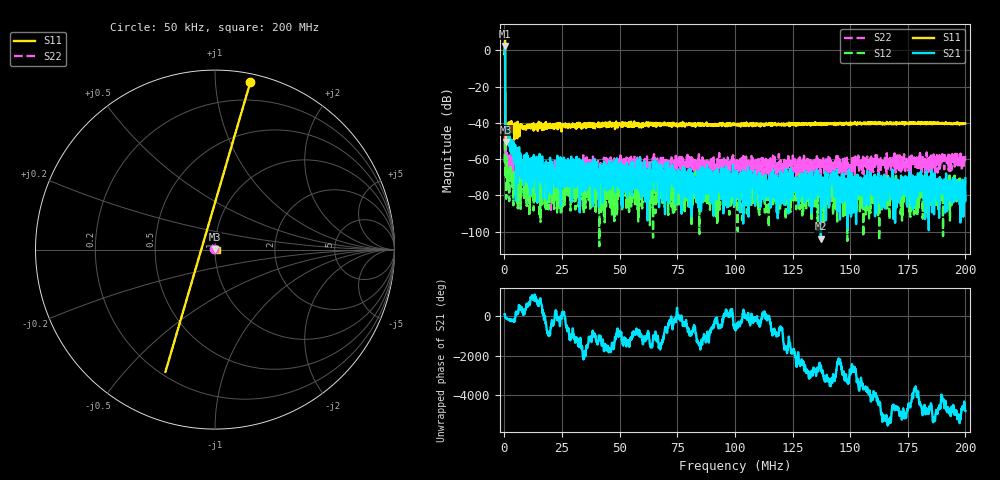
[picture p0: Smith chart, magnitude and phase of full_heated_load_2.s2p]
! 26-Feb-26 2:21:37 PM
! E:\VNA_MEASUREMENTS\HEATED_LOAD\FULL_HEATED_LOAD_2.S2P
! CHANNEL.1
! TR.MEASUREMENT
! CORRECTED.DATA
# GHZ S RI R 50.0
! FREQ.GHZ  S11RE  S11IM  S21RE  S21IM  S12RE  S12IM  S22RE  S22IM
!; PortSelection: Port_12
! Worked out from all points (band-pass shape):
!   2000 points, 50 kHz to 200 MHz, reference 50 ohm
!   highest |S21| = 2.48 dB at 250 kHz (marker M1); lowest = -103.9 dB at 137.3 MHz (marker M2)
!   |S21| within 3 dB of the highest: 60.28 kHz to 256.3 kHz (196.1 kHz wide, 124 % of centre)
!   lowest |S11| = -50.6 dB at 750.2 kHz (marker M3), VSWR 1.01, Z = 50.1 + j0.277 ohm
!   |S11| at or under -10 dB: 284.7 kHz to end of sweep
!   |S22| runs from -88.0 to -44.2 dB; largest |S21 - S12| = 1.3
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5e-05  0.1969 0.9328  0.1477 0.9168  -0.000799 0.000169  -0.0059 0.00175
0.00025005  1.58 -1.014  0.4791 1.241  0.00342 -9.16e-05  0.00019 -0.000878
0.000750175  0.00106 0.00277  -0.00463 -0.00583  -5.34e-05 5.99e-05  -6.22e-05 0.000357
0.00145035  0.00472 0.0011  -0.00363 -0.00267  0.00025 -0.000446  -0.000237 0.000779
0.005751426  0.00863 0.00117  -0.00107 0.00171  -1.98e-05 -3.89e-05  0.00067 -7.66e-05
0.007951976  0.00677 -0.000689  0.000275 -0.000329  -0.000136 0.000177  0.000372 9.75e-05
0.01025255  0.00739 0.000167  -0.000296 -0.000814  0.000113 -3.96e-05  0.000351 -5.44e-05
0.0172543  0.00671 -0.00119  -0.000117 -0.000639  -0.000151 -0.00021  0.000252 -6.45e-05
0.0192548  0.00826 0.000803  -0.000303 9.96e-05  0.000225 -6.41e-05  0.000702 9.84e-05
0.02235558  0.00725 -0.000791  -0.000389 -0.000292  5.14e-05 -5.28e-05  0.00026 0.000139
0.03345835  0.00771 -0.000438  -0.000108 -0.000145  5.6e-05 -0.000164  0.000816 0.000131
0.03935983  0.0088 0.00137  0.000749 0.000319  0.000271 2.63e-05  0.00054 0.000542
0.04186045  0.00888 -5.96e-05  -0.00015 -0.000483  0.000178 -2.64e-05  0.000752 -0.000435
0.04456113  0.01 -1.9e-05  -0.000183 -0.000248  9.53e-05 5.57e-05  0.000797 -0.000349
0.06676668  0.00878 -0.00056  -0.000312 0.00047  0.00024 -0.000112  0.000541 0.000267
0.08277068  0.00958 -0.00133  0.000139 7.41e-05  -6.57e-05 -6.79e-05  0.000167 0.000809
0.100075  0.00883 -0.00156  0.00041 0.000133  5.3e-05 0.000143  0.000462 0.000282
0.1333833  0.00871 -0.00276  -4.8e-05 0.000107  -0.000108 0.000128  0.000108 0.000379
0.1372843  0.00915 -0.00277  5.6e-06 3e-06  0.000127 -7.47e-05  0.000367 0.000525
0.1666917  0.0082 -0.00412  0.00015 5.14e-05  -0.000122 -2.57e-05  0.000545 0.000719
0.1974994  0.00833 -0.00508  5.34e-05 -2.22e-05  0.00019 -2.41e-05  0.000562 0.00085
0.2  0.00836 -0.00448  -0.000183 -0.000231  9.6e-06 -7.65e-05  0.000397 0.00112
